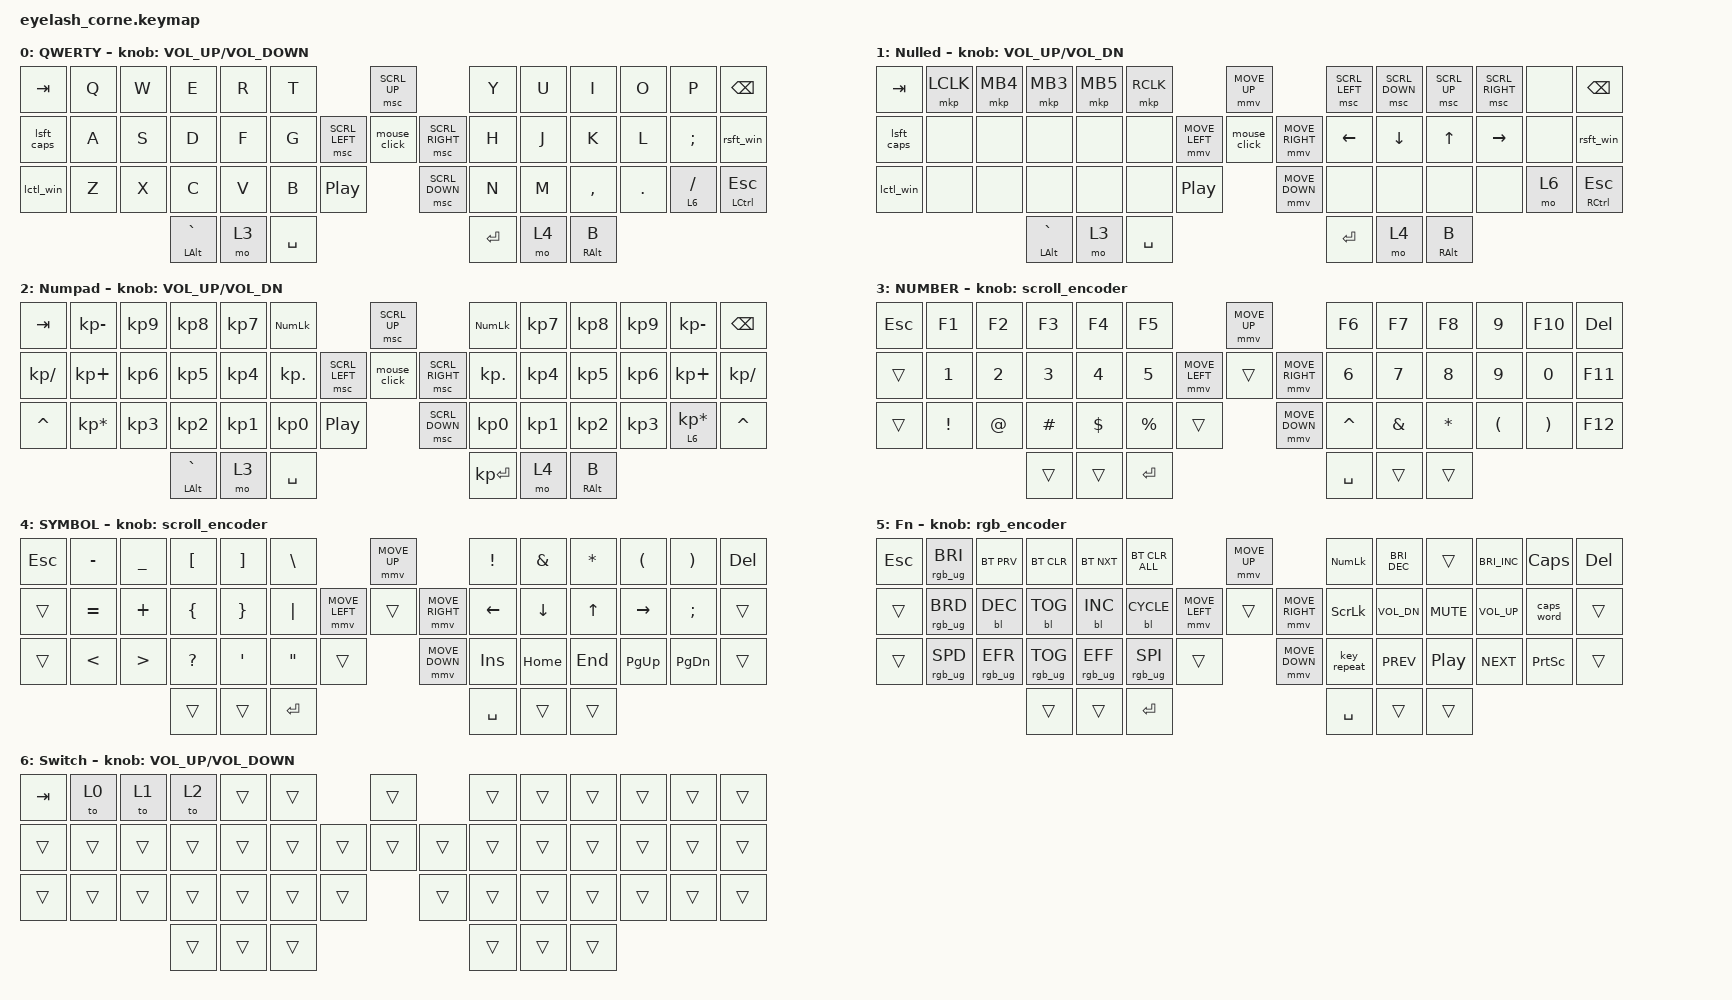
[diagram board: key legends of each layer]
#include <dt-bindings/zmk/mouse.h>
#include <input/processors.dtsi>
#include <behaviors.dtsi>
#include <dt-bindings/zmk/backlight.h>
#include <dt-bindings/zmk/bt.h>
#include <dt-bindings/zmk/keys.h>
#include <dt-bindings/zmk/pointing.h>
#include <dt-bindings/zmk/pointing.h>
#include <dt-bindings/zmk/pointing.h>
#include <dt-bindings/zmk/rgb.h>

/*

   &mmv_input_listener {
       input-processors = <&zip_xy_scaler 2 1>;
   };

   &msc_input_listener {
       input-processors = <&zip_xy_scaler 2 1>;
   };

 */

#define ZMK_MOUSE_DEFAULT_MOVE_VAL 1200  // 600
#define ZMK_MOUSE_DEFAULT_SCRL_VAL 20    // 10

/ {
    behaviors {
        td0: td0 {
            compatible = "zmk,behavior-tap-dance";
            display-name = "Shift/Caps Lock Tap Dance";
            #binding-cells = <0>;
            bindings = <&kp LEFT_SHIFT>, <&kp CAPS>;
        };

        lsft_caps: lsft_caps {
            compatible = "zmk,behavior-tap-dance";
            label = "LSFT_CAPS";
            #binding-cells = <0>;
            bindings = <&kp LSHFT>, <&kp CAPSLOCK>;
        };

        lctl_win: lctl_win {
            compatible = "zmk,behavior-tap-dance";
            label = "LCTL_WIN";
            #binding-cells = <0>;
            bindings = <&kp LCTRL>, <&kp LEFT_GUI>;
        };

        rsft_win: rsft_win {
            compatible = "zmk,behavior-tap-dance";
            label = "RSFT_WIN";
            #binding-cells = <0>;
            bindings = <&kp RSHIFT>, <&kp RWIN>;
        };

        mouse_click: mouse_click {
            compatible = "zmk,behavior-tap-dance";
            label = "MOUSE_CLICK";
            #binding-cells = <0>;
            bindings = <&mkp LCLK>, <&mkp RCLK>;
        };
    };

    rgb_encoder: rgb_encoder {
        compatible = "zmk,behavior-sensor-rotate";
        #sensor-binding-cells = <0>;
        bindings = <&rgb_ug RGB_BRI>, <&rgb_ug RGB_BRD>;
    };

    scroll_encoder: scroll_encoder {
        compatible = "zmk,behavior-sensor-rotate";
        #sensor-binding-cells = <0>;
        bindings = <&msc SCRL_DOWN>, <&msc SCRL_UP>;

        tap-ms = <30>;
    };

    keymap {
        compatible = "zmk,keymap";

        default_layer {
            display-name = "QWERTY";
            bindings = <
&kp TAB     &kp Q  &kp W  &kp E               &kp R  &kp T                                          &msc SCRL_UP                     &kp Y      &kp U  &kp I       &kp O    &kp P        &kp BSPC
&lsft_caps  &kp A  &kp S  &kp D               &kp F  &kp G                          &msc SCRL_LEFT  &mouse_click    &msc SCRL_RIGHT  &kp H      &kp J  &kp K       &kp L    &kp SEMI     &rsft_win
&lctl_win   &kp Z  &kp X  &kp C               &kp V  &kp B      &kp C_PLAY_PAUSE                    &msc SCRL_DOWN                   &kp N      &kp M  &kp COMMA   &kp DOT  &lt 6 SLASH  &mt LCTRL ESCAPE
                          &mt LEFT_ALT GRAVE  &mo 3  &kp SPACE                                                                       &kp ENTER  &mo 4  &mt RALT B
            >;

            sensor-bindings = <&inc_dec_kp C_VOLUME_UP C_VOLUME_DOWN>;
        };

        Nulled {
            bindings = <
&kp TAB     &mkp LCLK  &mkp MB4  &mkp MB3        &mkp MB5  &mkp RCLK                              &mmv MOVE_UP                     &msc SCRL_LEFT  &msc SCRL_DOWN  &msc SCRL_UP  &msc SCRL_RIGHT  &none  &kp BACKSPACE
&lsft_caps  &none      &none     &none           &none     &none                  &mmv MOVE_LEFT  &mouse_click    &mmv MOVE_RIGHT  &kp LEFT        &kp DOWN        &kp UP        &kp RIGHT        &none  &rsft_win
&lctl_win   &none      &none     &none           &none     &none      &kp C_PP                    &mmv MOVE_DOWN                   &none           &none           &none         &none            &mo 6  &mt RCTRL ESCAPE
                                 &mt LALT GRAVE  &mo 3     &kp SPACE                                                               &kp ENTER       &mo 4           &mt RALT B
            >;

            sensor-bindings = <&inc_dec_kp C_VOLUME_UP C_VOL_DN>;
        };

        Numpad {
            bindings = <
&kp TAB        &kp KP_SUBTRACT  &kp KP_NUMBER_9  &kp KP_NUMBER_8  &kp KP_NUMBER_7  &kp KP_NUM                                   &msc SCRL_UP                     &kp KP_NUM       &kp KP_NUMBER_7  &kp KP_NUMBER_8  &kp KP_NUMBER_9  &kp KP_SUBTRACT    &kp BACKSPACE
&kp KP_DIVIDE  &kp KP_PLUS      &kp KP_NUMBER_6  &kp KP_NUMBER_5  &kp KP_NUMBER_4  &kp KP_DOT                   &msc SCRL_LEFT  &mouse_click    &msc SCRL_RIGHT  &kp KP_DOT       &kp KP_NUMBER_4  &kp KP_NUMBER_5  &kp KP_NUMBER_6  &kp KP_PLUS        &kp KP_DIVIDE
&kp CARET      &kp KP_MULTIPLY  &kp KP_NUMBER_3  &kp KP_NUMBER_2  &kp KP_NUMBER_1  &kp KP_NUMBER_0  &kp C_PP                    &msc SCRL_DOWN                   &kp KP_NUMBER_0  &kp KP_NUMBER_1  &kp KP_NUMBER_2  &kp KP_NUMBER_3  &lt 6 KP_MULTIPLY  &kp CARET
                                                 &mt LALT GRAVE   &mo 3            &kp SPACE                                                                     &kp KP_ENTER     &mo 4            &mt RALT B
            >;

            sensor-bindings = <&inc_dec_kp C_VOLUME_UP C_VOL_DN>;
        };

        lower_layer {
            display-name = "NUMBER";
            bindings = <
&kp ESCAPE  &kp F1        &kp F2  &kp F3    &kp F4      &kp F5                                 &mmv MOVE_UP                     &kp F6     &kp F7         &kp F8        &kp N9                &kp F10                &kp DELETE
&trans      &kp NUMBER_1  &kp N2  &kp N3    &kp N4      &kp N5                 &mmv MOVE_LEFT  &trans          &mmv MOVE_RIGHT  &kp N6     &kp N7         &kp N8        &kp N9                &kp N0                 &kp F11
&trans      &kp EXCL      &kp AT  &kp HASH  &kp DOLLAR  &kp PERCENT  &trans                    &mmv MOVE_DOWN                   &kp CARET  &kp AMPERSAND  &kp ASTERISK  &kp LEFT_PARENTHESIS  &kp RIGHT_PARENTHESIS  &kp F12
                                  &trans    &trans      &kp ENTER                                                               &kp SPACE  &trans         &trans
            >;

            sensor-bindings = <&scroll_encoder>;
        };

        raise_layer {
            display-name = "SYMBOL";
            bindings = <
&kp ESCAPE  &kp MINUS      &kp UNDERSCORE    &kp LEFT_BRACKET  &kp RIGHT_BRACKET  &kp BACKSLASH                                &mmv MOVE_UP                     &kp EXCL    &kp AMPS  &kp ASTRK  &kp LPAR   &kp RPAR       &kp DELETE
&trans      &kp EQUAL      &kp PLUS          &kp LEFT_BRACE    &kp RIGHT_BRACE    &kp PIPE                     &mmv MOVE_LEFT  &trans          &mmv MOVE_RIGHT  &kp LEFT    &kp DOWN  &kp UP     &kp RIGHT  &kp SEMICOLON  &trans
&trans      &kp LESS_THAN  &kp GREATER_THAN  &kp QUESTION      &kp SINGLE_QUOTE   &kp DOUBLE_QUOTES  &trans                    &mmv MOVE_DOWN                   &kp INSERT  &kp HOME  &kp END    &kp PG_UP  &kp PG_DN      &trans
                                             &trans            &trans             &kp ENTER                                                                     &kp SPACE   &trans    &trans
            >;

            sensor-bindings = <&scroll_encoder>;
        };

        Adjust {
            display-name = "Fn";
            bindings = <
&kp ESCAPE  &rgb_ug RGB_BRI  &bt BT_PRV       &bt BT_CLR       &bt BT_NXT       &bt BT_CLR_ALL                             &mmv MOVE_UP                     &kp KP_NUM      &kp C_BRIGHTNESS_DEC  &trans            &kp C_BRIGHTNESS_INC  &kp CAPSLOCK     &kp DELETE
&trans      &rgb_ug RGB_BRD  &bl BL_DEC       &bl BL_TOG       &bl BL_INC       &bl BL_CYCLE               &mmv MOVE_LEFT  &trans          &mmv MOVE_RIGHT  &kp SCROLLLOCK  &kp C_VOL_DN          &kp C_MUTE        &kp C_VOLUME_UP       &caps_word       &trans
&trans      &rgb_ug RGB_SPD  &rgb_ug RGB_EFR  &rgb_ug RGB_TOG  &rgb_ug RGB_EFF  &rgb_ug RGB_SPI  &trans                    &mmv MOVE_DOWN                   &key_repeat     &kp C_PREV            &kp C_PLAY_PAUSE  &kp C_NEXT            &kp PRINTSCREEN  &trans
                                              &trans           &trans           &kp ENTER                                                                   &kp SPACE       &trans                &trans
            >;

            sensor-bindings = <&rgb_encoder>;
        };

        Switch {
            bindings = <
&kp TAB  &to 0   &to 1   &to 2   &trans  &trans                    &trans          &trans  &trans  &trans  &trans  &trans  &trans
&trans   &trans  &trans  &trans  &trans  &trans            &trans  &trans  &trans  &trans  &trans  &trans  &trans  &trans  &trans
&trans   &trans  &trans  &trans  &trans  &trans  &trans            &trans          &trans  &trans  &trans  &trans  &trans  &trans
                         &trans  &trans  &trans                                    &trans  &trans  &trans
            >;

            sensor-bindings = <&inc_dec_kp C_VOL_UP C_VOLUME_DOWN>;
        };
    };

    conditional_layers {
        compatible = "zmk,conditional-layers";

        tri_layer {
            if-layers = <3 4>;
            then-layer = <5>;
        };
    };
};
